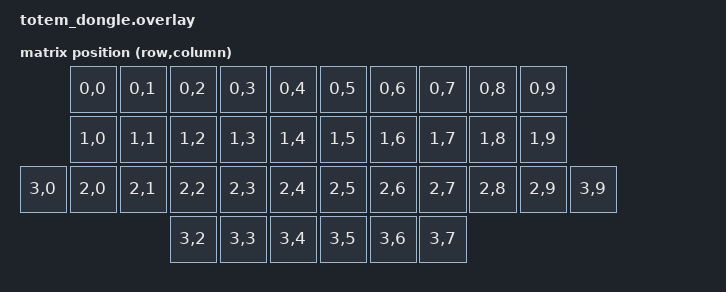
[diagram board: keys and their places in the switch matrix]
/*
 * TOTEM dongle: keyless central.
 * Mock kscan (no keys of its own) + the TOTEM matrix transform, so the
 * 38 key positions sent by the halves map onto config/totem.keymap.
 * Follows https://zmk.dev/docs/development/hardware-integration/dongle (v0.3)
 */

#include <dt-bindings/zmk/matrix_transform.h>

/ {
    chosen {
        zmk,kscan = &mock_kscan;
        zmk,physical-layout = &physical_layout0;
    };

    mock_kscan: mock_kscan_0 {
        compatible = "zmk,kscan-mock";
        columns = <0>;
        rows = <0>;
        events = <0>;
    };

    // Copied from totem.dtsi (without the right half's col-offset:
    // each half applies its own transform before sending positions).
    default_transform: keymap_transform_0 {
        compatible = "zmk,matrix-transform";
        columns = <10>;
        rows = <4>;
        map = <
                RC(0,0) RC(0,1) RC(0,2) RC(0,3) RC(0,4)    RC(0,5) RC(0,6) RC(0,7) RC(0,8) RC(0,9)
                RC(1,0) RC(1,1) RC(1,2) RC(1,3) RC(1,4)    RC(1,5) RC(1,6) RC(1,7) RC(1,8) RC(1,9)
        RC(3,0) RC(2,0) RC(2,1) RC(2,2) RC(2,3) RC(2,4)    RC(2,5) RC(2,6) RC(2,7) RC(2,8) RC(2,9) RC(3,9)
                                RC(3,2) RC(3,3) RC(3,4)    RC(3,5) RC(3,6) RC(3,7)
        >;
    };

    // Barebones physical layout (no Studio).
    physical_layout0: physical_layout_0 {
        compatible = "zmk,physical-layout";
        display-name = "Default Layout";
        transform = <&default_transform>;
    };
};
